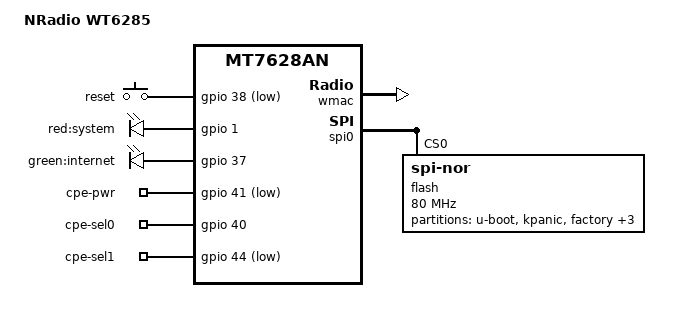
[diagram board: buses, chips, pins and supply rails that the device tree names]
// Copyright By Zy143L <momoe.ml>

#include "mt7628an.dtsi"
#include <dt-bindings/gpio/gpio.h>
#include <dt-bindings/input/input.h>

/ {
	compatible = "nradio,wt6285", "mediatek,mt7628an-soc";
	model = "NRadio WT6285";

	aliases {
		led-boot = &led_system;
		led-failsafe = &led_system;
		led-running = &led_system;
		led-upgrade = &led_system;
	};

	chosen {
		bootargs = "console=ttyS0,115200";
	};

	keys {
		compatible = "gpio-keys";

		reset {
			label = "reset";
			gpios = <&gpio 38 GPIO_ACTIVE_LOW>;
			linux,code = <KEY_RESTART>;
		};
	};

	leds {
		compatible = "gpio-leds";

		led_system: system  {
			label = "red:system";
			gpios = <&gpio 1 GPIO_ACTIVE_HIGH>;
		};

		led_internet {
			label = "green:internet";
			gpios = <&gpio 37 GPIO_ACTIVE_HIGH>;
		};
	};

	gpio_export {
		compatible = "gpio-export";
		#size-cells = <0>;

		cpepower {
			gpio-export,name = "cpe-pwr";
			gpio-export,output = <0>;
			gpios = <&gpio 41 GPIO_ACTIVE_LOW>;
		};

		cpesel0 {
			gpio-export,name = "cpe-sel0";
			gpio-export,output = <1>;
			gpios = <&gpio 40 GPIO_ACTIVE_HIGH>;
		};

		cpesel1 {
			gpio-export,name = "cpe-sel1";
			gpio-export,output = <1>;
			gpios = <&gpio 44 GPIO_ACTIVE_LOW>;
		};
	};
};

&ethernet {
	mtd-mac-address = <&bdinfo 0x9>;
};

&wmac {
	status = "okay";
};

&state_default {
	gpio {
		groups = "i2c", "refclk", "wdt", "wled_an", "p2led_an", "p3led_an";
		function = "gpio";
	};
};

&spi0 {
	status = "okay";

	flash@0 {
		compatible = "jedec,spi-nor";
		reg = <0>;
		spi-max-frequency = <80000000>;
		m25p,fast-read;

		partitions {
			compatible = "fixed-partitions";
			#address-cells = <1>;
			#size-cells = <1>;

			partition@0 {
				label = "u-boot";
				reg = <0x0 0x30000>;
				read-only;
			};

			partition@30000 {
				label = "kpanic";
				reg = <0x30000 0x10000>;
				read-only;
			};

			factory: partition@40000 {
				label = "factory";
				reg = <0x40000 0x10000>;
				read-only;
			};

			partition@50000 {
				compatible = "denx,uimage";
				label = "firmware";
				reg = <0x50000 0xf70000>;
			};

			bdinfo: partition@fe0000 {
				label = "bdinfo";
				reg = <0xfe0000 0x10000>;
				read-only;
			};

			partition@ff0000 {
				label = "reserve";
				reg = <0xff0000 0x10000>;
				read-only;
			};
		};
	};
};
